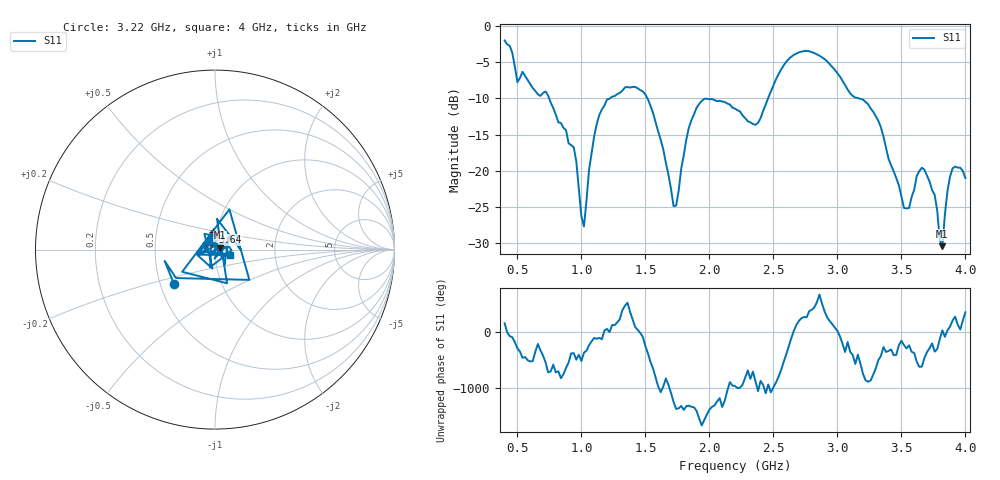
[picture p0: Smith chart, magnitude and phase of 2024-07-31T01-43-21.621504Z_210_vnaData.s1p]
!Created with skrf (http://scikit-rf.org).
# Hz S RI R 50.0
!freq ReS11 ImS11
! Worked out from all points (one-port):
!   181 points, 400 MHz to 4 GHz, reference 50 ohm
!   lowest |S11| = -30.4 dB at 3.82 GHz (marker M1), VSWR 1.06, Z = 52.9 + j1.2 ohm
!   |S11| at or under -10 dB: 747.8 MHz to 1.224 GHz (475.9 MHz wide, 48.3 % of centre); 1.515 GHz to 2.458 GHz (943.2 MHz wide, 47.5 % of centre); 3.166 GHz to end of sweep
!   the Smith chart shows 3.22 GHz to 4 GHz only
!   S11 on the Smith chart (normalised r, x): 3.22 GHz: 0.59, -0.25; 3.64 GHz: 0.96, +0.19; 4 GHz: 1.18, -0.07
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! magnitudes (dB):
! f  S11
! 400 MHz  -2.0
! 500 MHz  -7.8
! 720 MHz  -9.1
! 860 MHz  -14.1
! 940 MHz  -16.7
! 1.02 GHz  -27.7
! 1.06 GHz  -19.8
! 1.12 GHz  -13.5
! 1.3 GHz  -9.3
! 1.5 GHz  -9.5
! 1.64 GHz  -17.1
! 1.72 GHz  -24.8
! 1.76 GHz  -22.7
! 1.84 GHz  -14.0
! 1.92 GHz  -10.8
! 2.2 GHz  -11.4
! 2.38 GHz  -13.4
! 2.66 GHz  -4.0
! 2.88 GHz  -4.4
! 3.1 GHz  -9.3
! 3.22 GHz  -10.5
! 3.56 GHz  -25.1
! 3.64 GHz  -20.0
! 3.76 GHz  -23.3
! 3.82 GHz  -30.4
! 3.86 GHz  -22.8
! 3.9 GHz  -19.6
! 4 GHz  -21.0
